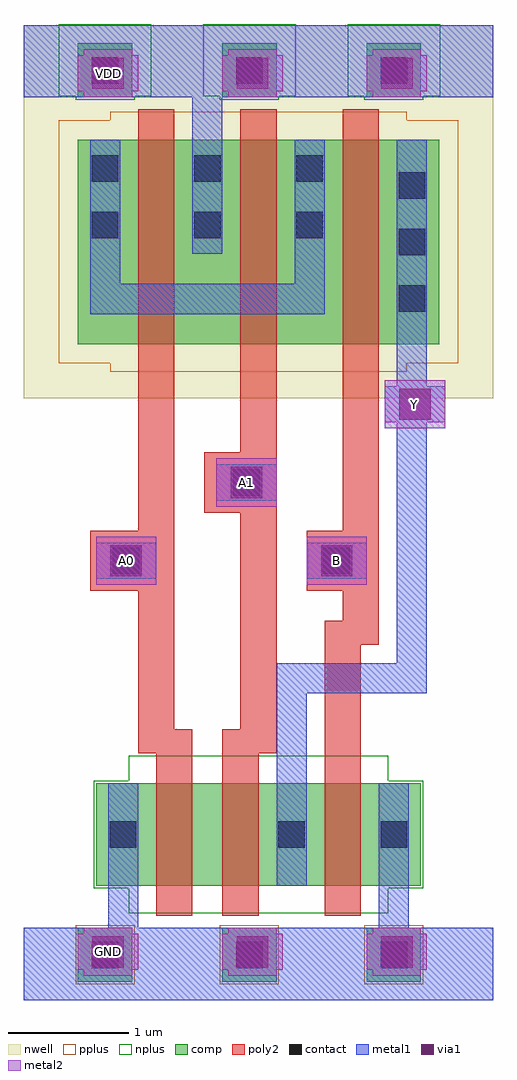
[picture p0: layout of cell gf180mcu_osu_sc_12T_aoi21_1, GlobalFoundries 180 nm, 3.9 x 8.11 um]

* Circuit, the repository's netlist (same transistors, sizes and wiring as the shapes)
.inc "../../char/techfiles/design.hspice"
.lib "../../char/techfiles/sm141064.hspice" typical

.GLOBAL VDD
.GLOBAL GND

.option scale=0.05u

.subckt gf180mcu_osu_sc_12T_aoi21_1 Y A0 A1 B
X0 Y B a_9_106 VDD pmos_3p3 w=34 l=6
X1 a_9_106 A1 VDD VDD pmos_3p3 w=34 l=6
X2 VDD A0 a_9_106 VDD pmos_3p3 w=34 l=6
X3 GND B Y GND nmos_3p3 w=17 l=6
X4 a_28_16 A0 GND GND nmos_3p3 w=17 l=6
X5 Y A1 a_28_16 GND nmos_3p3 w=17 l=6
.ends

** hspice subcircuit dictionary

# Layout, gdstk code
import gdstk
lib = gdstk.Library(unit=1e-6, precision=1e-09)
def R(c, l, rs):  # rectangles x0, y0, x1, y1
    for r in rs: c.add(gdstk.rectangle(r[:2], r[2:], *l))
def A(c, l, x, y, w, h, nx, ny, dx, dy):  # array of equal rectangles
    R(c, l, [(x+i*dx, y+j*dy, x+i*dx+w, y+j*dy+h) for i in range(nx) for j in range(ny)])
nwell = (21, 0)
comp = (22, 0)
poly2 = (30, 0)
pplus = (31, 0)
nplus = (32, 0)
contact = (33, 0)
metal1 = (34, 0)
via1 = (35, 0)
metal2 = (36, 0)

gf180mcu_osu_sc_12t_aoi2 = lib.new_cell('gf180mcu_osu_sc_12T_aoi21_1')
R(gf180mcu_osu_sc_12t_aoi2, nwell, [(0,4.85,3.9,7.95)])
A(gf180mcu_osu_sc_12t_aoi2, comp, 0.45, 0, 0.45, 0.45, 3, 2, 1.2, 7.35)
R(gf180mcu_osu_sc_12t_aoi2, comp, [(0.6,0.8,3.3,1.65), (0.45,5.3,3.45,7)])
R(gf180mcu_osu_sc_12t_aoi2, poly2, [(1.1,0.55,1.4,1.9), (1.65,0.55,1.95,1.9), (2.5,0.55,2.8,2.8), (0.95,1.9,1.4,2.1), (1.65,1.9,2.1,2.1), (0.95,2.1,1.25,3.25), (1.8,2.1,2.1,3.9), (2.5,2.8,2.95,3), (2.65,3,2.95,3.25), (0.55,3.25,1.25,3.75), (2.35,3.25,2.95,3.75), (0.95,3.75,1.25,7.25), (2.65,3.75,2.95,7.25), (1.5,3.9,2.1,4.4), (1.8,4.4,2.1,7.25)])
A(gf180mcu_osu_sc_12t_aoi2, pplus, 0.43, -0.02, 0.49, 0.49, 3, 1, 1.2, 0)
R(gf180mcu_osu_sc_12t_aoi2, pplus, [(0.72,5.07,3.18,5.14), (0.29,5.14,3.61,7.16), (0.72,7.16,3.18,7.23)])
A(gf180mcu_osu_sc_12t_aoi2, nplus, 0.43, 7.33, 0.49, 0.03, 3, 1, 1.2, 0)
A(gf180mcu_osu_sc_12t_aoi2, nplus, 0.29, 7.36, 0.77, 0.6, 3, 1, 1.2, 0)
R(gf180mcu_osu_sc_12t_aoi2, nplus, [(0.87,0.57,3.03,0.78), (0.58,0.78,3.32,1.67), (0.87,1.67,3.03,1.88)])
A(gf180mcu_osu_sc_12t_aoi2, contact, 0.565, 0.115, 0.22, 0.22, 3, 2, 1.2, 7.35)
A(gf180mcu_osu_sc_12t_aoi2, contact, 3.115, 5.57, 0.22, 0.22, 1, 3, 0, 0.47)
A(gf180mcu_osu_sc_12t_aoi2, contact, 0.565, 6.18, 0.22, 0.22, 3, 2, 0.85, 0.47)
R(gf180mcu_osu_sc_12t_aoi2, contact, [(0.715,1.115,0.935,1.335), (2.115,1.115,2.335,1.335), (2.965,1.115,3.185,1.335), (0.74,3.39,0.96,3.61), (2.49,3.39,2.71,3.61), (1.74,4.04,1.96,4.26)])
R(gf180mcu_osu_sc_12t_aoi2, metal1, [(0,-0.15,3.9,0.45), (0.7,0.45,0.95,1.65), (2.95,0.45,3.2,1.65), (2.1,0.8,2.35,2.4), (2.1,2.4,3.35,2.65), (3.1,2.65,3.35,4.65), (0.6,3.35,1.1,3.65), (2.35,3.35,2.85,3.65), (1.6,4,2.1,4.3), (3,4.65,3.5,4.95), (3.1,4.95,3.35,7), (0.55,5.55,2.5,5.8), (0.55,5.8,0.8,7), (2.25,5.8,2.5,7), (1.4,6.05,1.65,7.35), (0,7.35,3.9,7.95)])
A(gf180mcu_osu_sc_12t_aoi2, via1, 0.57, 0.12, 0.26, 0.26, 3, 2, 1.2, 7.3)
R(gf180mcu_osu_sc_12t_aoi2, via1, [(0.72,3.37,0.98,3.63), (2.47,3.37,2.73,3.63), (1.72,4.02,1.98,4.28), (3.12,4.67,3.38,4.93)])
A(gf180mcu_osu_sc_12t_aoi2, metal2, 0.5, 0.05, 0.4, 0.05, 3, 2, 1.2, 0.35)
A(gf180mcu_osu_sc_12t_aoi2, metal2, 0.45, 0.1, 0.5, 0.3, 3, 2, 1.2, 7.3)
A(gf180mcu_osu_sc_12t_aoi2, metal2, 0.5, 7.35, 0.4, 0.05, 3, 2, 1.2, 0.35)
R(gf180mcu_osu_sc_12t_aoi2, metal2, [(0.6,3.3,1.1,3.7), (2.35,3.3,2.85,3.7), (1.6,3.95,2.1,4.35), (3,4.6,3.5,5)])
gf180mcu_osu_sc_12t_aoi2.add(gdstk.Label('GND', (0.7,0.25), layer=36, texttype=0))
gf180mcu_osu_sc_12t_aoi2.add(gdstk.Label('VDD', (0.7,7.55), layer=36, texttype=0))
gf180mcu_osu_sc_12t_aoi2.add(gdstk.Label('Y', (3.25,4.8), layer=36, texttype=10))
gf180mcu_osu_sc_12t_aoi2.add(gdstk.Label('A0', (0.85,3.5), layer=36, texttype=10))
gf180mcu_osu_sc_12t_aoi2.add(gdstk.Label('A1', (1.85,4.15), layer=36, texttype=10))
gf180mcu_osu_sc_12t_aoi2.add(gdstk.Label('B', (2.6,3.5), layer=36, texttype=10))

lib.write_gds('gf180mcu_osu_sc_12T_aoi21_1.gds')
